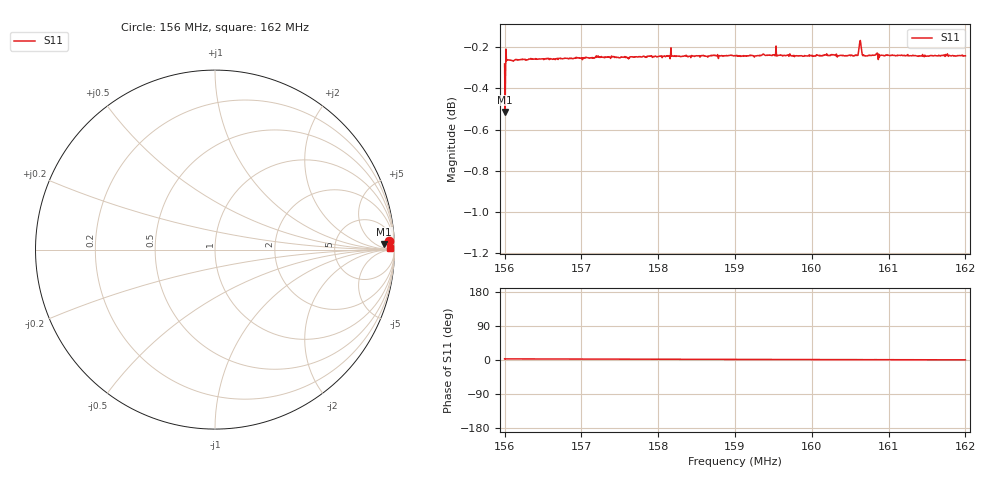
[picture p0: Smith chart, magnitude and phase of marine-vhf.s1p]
! Calibrated averaged scanner-service zoom
# Hz S RI R 50
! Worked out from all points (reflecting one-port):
!   1001 points, 156 MHz to 162 MHz, reference 50 ohm
!   lowest |S11| = -0.5 dB at 156.01 MHz (marker M1), VSWR 33.77, Z = 1.31e+03 + j705 ohm
!   phase of S11 starts at 3 deg and turns -3 deg over the sweep
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1.56e8  0.9669 0.0492
1.56006e8  0.942 0.0301
1.56036e8  0.9692 0.0494
1.56042e8  0.9692 0.0492
1.56048e8  0.9691 0.0492
1.56054e8  0.9691 0.0491
1.56102e8  0.9688 0.0487
1.5675e8  0.97 0.0432
1.57224e8  0.971 0.04
1.575e8  0.9708 0.0377
1.5819e8  0.972 0.0323
1.5825e8  0.972 0.0319
1.59e8  0.9724 0.0265
1.59276e8  0.9722 0.0249
1.59516e8  0.9728 0.0234
1.5975e8  0.9725 0.0213
1.605e8  0.9728 0.0164
1.60572e8  0.9728 0.016
1.60608e8  0.9747 0.0159
1.60626e8  0.9803 0.0165
1.6065e8  0.9752 0.0156
1.60674e8  0.973 0.0155
1.60692e8  0.9726 0.0155
1.60806e8  0.9727 0.0147
1.6086e8  0.9729 0.0162
1.6092e8  0.9727 0.0138
1.6125e8  0.9732 0.0118
1.62e8  0.9726 0.00693
